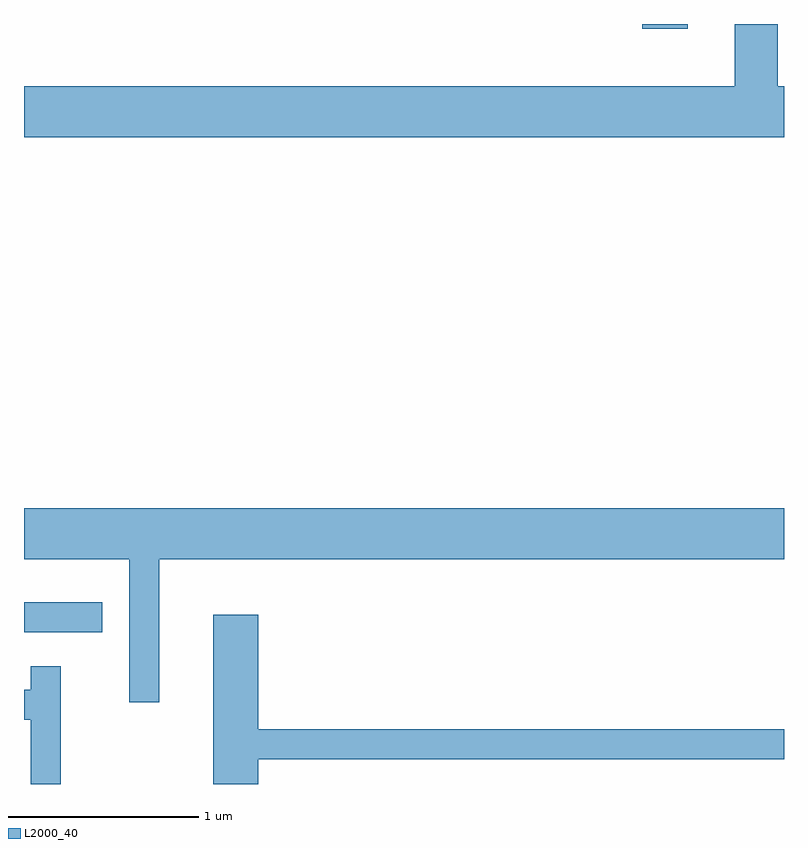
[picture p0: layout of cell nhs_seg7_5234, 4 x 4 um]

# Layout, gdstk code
import gdstk
lib = gdstk.Library(unit=1e-6, precision=1e-09)
def R(c, l, rs):  # rectangles x0, y0, x1, y1
    for r in rs: c.add(gdstk.rectangle(r[:2], r[2:], *l))
def P(c, l, *ps):  # polygons
    for p in ps: c.add(gdstk.Polygon(p, *l))
L2000_40 = (2000, 40)

nhs_seg7_5234 = lib.new_cell('nhs_seg7_5234')
R(nhs_seg7_5234, L2000_40, [(345.611,1705.051,346.023,1705.209), (348.866,1708.226,349.104,1708.252)])
P(nhs_seg7_5234, L2000_40, [(349.611,1707.924),(349.579,1707.924),(349.579,1708.252),(349.351,1708.252),(349.351,1707.924),(345.611,1707.924),(345.611,1707.656),(349.611,1707.656)],
  [(346.324,1705.436),(349.611,1705.436),(349.611,1705.704),(345.611,1705.704),(345.611,1705.436),(346.166,1705.436),(346.166,1704.683),(346.324,1704.683)],
  [(346.844,1704.381),(349.611,1704.381),(349.611,1704.539),(346.844,1704.539),(346.844,1705.144),(346.606,1705.144),(346.606,1704.252),(346.844,1704.252)],
  [(345.804,1704.873),(345.646,1704.873),(345.646,1704.749),(345.611,1704.749),(345.611,1704.591),(345.646,1704.591),(345.646,1704.252),(345.804,1704.252)])

lib.write_gds('nhs_seg7_5234.gds')
